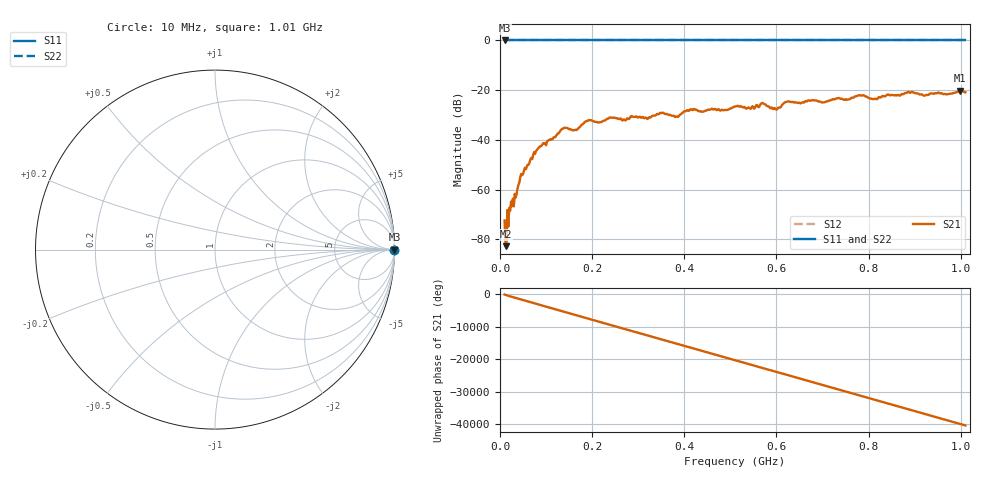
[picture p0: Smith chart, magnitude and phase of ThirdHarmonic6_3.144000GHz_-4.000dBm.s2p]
! 8/17/2025 9:23:34 AM
! C:\ANRITSUVNA\TEMP\TEMP.S2P
! CHANNEL.1
! TR.MEASUREMENT
! RAW.DATA
! RF.CORRECTION.OFF
! AVERAGING.OFF
! IF.BANDWIDTH: 5KHZ
! SWEEPTYPE:  FREQ.SWEEP(Linear)
! Reference Plane Port Info
! PORT:  PORT1  PORT2
! DISTANCE:  0  m  0  m
! TIME:  0  s  0  s
! PHASE.OFFSET:  0  deg.  0  deg.
! LOSS:  0  dB  0  dB
! REF.LOSS:  0  dB  0  dB
! REF.FREQ:  0  Hz  0  Hz
! Power Info
! POWER:  -20  dBm  -20  dBm
! EFF.POWER:  -20  dBm  -20  dBm
! SOURCE.ATTEN:  0  dB  0  dB
! TEST.ATTEN:  0  dB  0  dB
# GHZ S RI R 50.0
! FREQ.GHZ  S11RE  S11IM  S21RE  S21IM  S12RE  S12IM  S22RE  S22IM
!; PortSelection: Port_12
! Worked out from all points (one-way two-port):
!   501 points, 10 MHz to 1.01 GHz, reference 50 ohm
!   highest |S21| = -20.23 dB at 998 MHz (marker M1); lowest = -82.8 dB at 12 MHz (marker M2)
!   lowest |S11| = 0.0 dB at 10 MHz (marker M3)
!   |S11| at or under -10 dB: nowhere
!   |S22| runs from 0.0 to 0.0 dB; largest |S21 - S12| = 1.1
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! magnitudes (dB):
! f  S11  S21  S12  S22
! 10 MHz  0.0  -72.4  0.0  0.0
! 12 MHz  0.0  -82.8  0.0  0.0
! 16 MHz  0.0  -68.2  0.0  0.0
! 20 MHz  0.0  -67.4  0.0  0.0
! 24 MHz  0.0  -64.8  0.0  0.0
! 34 MHz  0.0  -63.2  0.0  0.0
! 48 MHz  0.0  -54.2  0.0  0.0
! 78 MHz  0.0  -44.5  0.0  0.0
! 136 MHz  0.0  -35.6  0.0  0.0
! 164 MHz  0.0  -35.9  0.0  0.0
! 178 MHz  0.0  -33.8  0.0  0.0
! 344 MHz  0.0  -29.7  0.0  0.0
! 384 MHz  0.0  -30.6  0.0  0.0
! 418 MHz  0.0  -28.0  0.0  0.0
! 510 MHz  0.0  -26.6  0.0  0.0
! 570 MHz  0.0  -25.2  0.0  0.0
! 598 MHz  0.0  -27.4  0.0  0.0
! 622 MHz  0.0  -24.7  0.0  0.0
! 678 MHz  0.0  -24.0  0.0  0.0
! 844 MHz  0.0  -21.9  0.0  0.0
! 998 MHz  0.0  -20.2  0.0  0.0
! 1.01 GHz  0.0  -20.9  0.0  0.0
